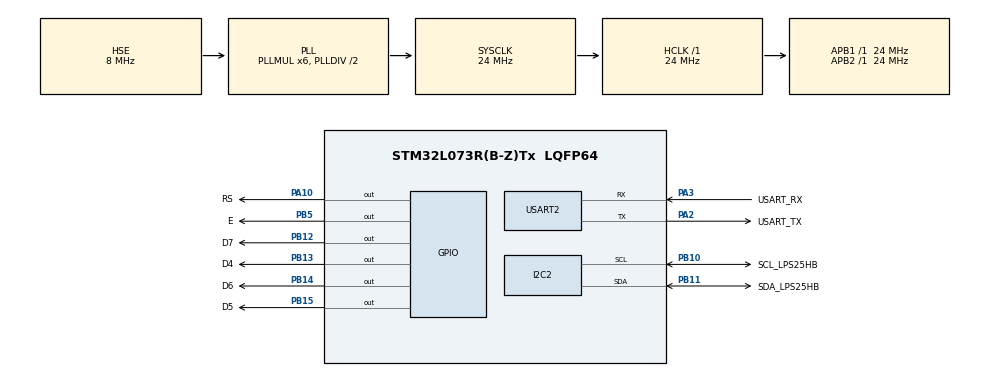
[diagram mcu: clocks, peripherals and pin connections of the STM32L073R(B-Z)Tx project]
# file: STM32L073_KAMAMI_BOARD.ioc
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I2C2.Timing=0x00805C87
Mcu.Family=STM32L0
Mcu.Name=STM32L073R(B-Z)Tx
Mcu.Package=LQFP64
Mcu.UserConstants=T2_PRE,12000;T2_CNT,2000
NVIC.I2C2_IRQn=true\:0\:0\:false\:false\:true\:true\:true\:true
NVIC.TIM2_IRQn=true\:0\:0\:false\:false\:true\:true\:true\:true
PA10.GPIO_Label=RS
PA10.Signal=GPIO_Output
PA13.GPIO_Label=TMS
PA13.Mode=Serial_Wire
PA13.Signal=SYS_SWDIO
PA14.GPIO_Label=TCK
PA14.Mode=Serial_Wire
PA14.Signal=SYS_SWCLK
PA2.GPIO_Label=USART_TX
PA2.Mode=Asynchronous
PA2.Signal=USART2_TX
PA3.GPIO_Label=USART_RX
PA3.Mode=Asynchronous
PA3.Signal=USART2_RX
PB10.GPIO_Label=SCL_LPS25HB
PB10.Mode=I2C
PB10.Signal=I2C2_SCL
PB11.GPIO_Label=SDA_LPS25HB
PB11.Mode=I2C
PB11.Signal=I2C2_SDA
PB12.GPIO_Label=D7
PB12.Signal=GPIO_Output
PB13.GPIO_Label=D4
PB13.Signal=GPIO_Output
PB14.GPIO_Label=D6
PB14.Signal=GPIO_Output
PB15.GPIO_Label=D5
PB15.Signal=GPIO_Output
PB5.GPIO_Label=E
PB5.Signal=GPIO_Output
PC14-OSC32_IN.Mode=LSE-External-Oscillator
PC14-OSC32_IN.Signal=RCC_OSC32_IN
PC15-OSC32_OUT.Mode=LSE-External-Oscillator
PC15-OSC32_OUT.Signal=RCC_OSC32_OUT
PH0-OSC_IN.GPIO_Label=MCO
PH0-OSC_IN.Mode=HSE-External-Clock-Source
PH0-OSC_IN.Signal=RCC_OSC_IN
ProjectManager.HeapSize=0x200
ProjectManager.StackSize=0x400
ProjectManager.TargetToolchain=MDK-ARM V5.32
RCC.AHBFreq_Value=24000000
RCC.APB1Freq_Value=24000000
RCC.APB1TimFreq_Value=24000000
RCC.APB2Freq_Value=24000000
RCC.APB2TimFreq_Value=24000000
RCC.HCLKFreq_Value=24000000
RCC.HSE_VALUE=8000000
RCC.HSI16_VALUE=16000000
RCC.HSI48_VALUE=48000000
RCC.HSI_VALUE=16000000
RCC.MSI_VALUE=2097000
RCC.PLLMUL=RCC_PLLMUL_6
RCC.PLLSourceVirtual=RCC_PLLSOURCE_HSE
RCC.SYSCLKFreq_VALUE=24000000
RCC.SYSCLKSource=RCC_SYSCLKSOURCE_PLLCLK
RCC.VCOOutputFreq_Value=48000000
TIM2.Period=T2_CNT
TIM2.Prescaler=T2_PRE
USART2.RxPinLevelInvertParam=ADVFEATURE_RXINV_DISABLE
USART2.TxPinLevelInvertParam=ADVFEATURE_TXINV_DISABLE
USART2.VirtualMode-Asynchronous=VM_ASYNC
VP_TIM2_VS_ClockSourceINT.Mode=Internal
board=NUCLEO-L073RZ

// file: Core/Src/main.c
/* USER CODE BEGIN Header */

/* USER CODE END Header */
#include "main.h"

/* USER CODE BEGIN Includes */
#include "LPS25HB.h"
#include "hd44780.h"
#include <stdio.h>
#include <string.h>

/* USER CODE END Includes */

/* USER CODE BEGIN PD */

StatusType Status=IDLE;

/* USER CODE END PD */

I2C_HandleTypeDef hi2c2;

TIM_HandleTypeDef htim2;

UART_HandleTypeDef huart2;

/* USER CODE BEGIN PV */

float slegis; // Current pressure reading
double vid;   // Average pressure
int sampleCount = 0; // Number of samples for averaging
double sum = 0; // Sum of pressure readings
int k = 0; // Counter for LCD updates

/* USER CODE END PV */

void SystemClock_Config(void);
static void MX_GPIO_Init(void);
static void MX_I2C2_Init(void);
static void MX_USART2_UART_Init(void);
static void MX_TIM2_Init(void);

/* USER CODE BEGIN 0 */
// Override the weak call back function

void HAL_TIM_PeriodElapsedCallback(TIM_HandleTypeDef * htim) {
  if (htim -> Instance == TIM2) {
		if (Status == IDLE)  {
			LPS25HB_Measure_Presure_IT( &hi2c2); // nuskaitymas
		  Status=SAMPLE_REQUESTED;
		}
  }
}

char txMessage[32];

/* USER CODE END 0 */

int main(void)
{

  /* MCU Configuration--------------------------------------------------------*/

  /* Reset of all peripherals, Initializes the Flash interface and the Systick. */
  HAL_Init();

  /* Configure the system clock */
  SystemClock_Config();

  /* Initialize all configured peripherals */
  MX_GPIO_Init();
  MX_I2C2_Init();
  MX_USART2_UART_Init();
  MX_TIM2_Init();
  /* USER CODE BEGIN 2 */

	LPS25HB_Initialise(&hi2c2);
	HAL_TIM_Base_Start_IT(&htim2);
	LCD_Init();
	LCD_Clear();

  /* USER CODE END 2 */

  /* Infinite loop */
  while (1)
  {

    /* USER CODE BEGIN 3 */
    // Add the latest pressure reading to the sum
    if (Status == SAMPLE_READY)
    {
        sum += slegis;
        sampleCount++;
        vid = sum / sampleCount; // Update the average pressure
        Status = IDLE; // Reset status to idle
    }

    // Send the average pressure to the computer every second
    snprintf(txMessage, sizeof(txMessage), "Pressure average: %.2f kPa \r\n", vid*0.1);
    HAL_UART_Transmit(&huart2, (uint8_t*)txMessage, strlen(txMessage), HAL_MAX_DELAY);

    k++; // Increment LCD update counter

    // Update the LCD every 5 seconds
    if (k == 5)
    {
        float slegis2 = vid * 0.1; // Convert pressure to display value
        char buffer[16];
        LCD_Clear();
        LCD_SetCursor(0, 0);
        sprintf(buffer, "Pres: %.2f kPa", slegis2);
        LCD_Print(buffer);
        k = 0; // Reset LCD update counter
    }

    HAL_Delay(1000); // 1-second delay
  }
  /* USER CODE END 3 */
}

void SystemClock_Config(void)
{
  RCC_OscInitTypeDef RCC_OscInitStruct = {0};
  RCC_ClkInitTypeDef RCC_ClkInitStruct = {0};
  RCC_PeriphCLKInitTypeDef PeriphClkInit = {0};

  /** Configure the main internal regulator output voltage
  */
  __HAL_PWR_VOLTAGESCALING_CONFIG(PWR_REGULATOR_VOLTAGE_SCALE1);

  /** Initializes the RCC Oscillators according to the specified parameters
  * in the RCC_OscInitTypeDef structure.
  */
  RCC_OscInitStruct.OscillatorType = RCC_OSCILLATORTYPE_HSE;
  RCC_OscInitStruct.HSEState = RCC_HSE_BYPASS;
  RCC_OscInitStruct.PLL.PLLState = RCC_PLL_ON;
  RCC_OscInitStruct.PLL.PLLSource = RCC_PLLSOURCE_HSE;
  RCC_OscInitStruct.PLL.PLLMUL = RCC_PLLMUL_6;
  RCC_OscInitStruct.PLL.PLLDIV = RCC_PLLDIV_2;
  if (HAL_RCC_OscConfig(&RCC_OscInitStruct) != HAL_OK)
  {
    Error_Handler();
  }

  /** Initializes the CPU, AHB and APB buses clocks
  */
  RCC_ClkInitStruct.ClockType = RCC_CLOCKTYPE_HCLK|RCC_CLOCKTYPE_SYSCLK
                              |RCC_CLOCKTYPE_PCLK1|RCC_CLOCKTYPE_PCLK2;
  RCC_ClkInitStruct.SYSCLKSource = RCC_SYSCLKSOURCE_PLLCLK;
  RCC_ClkInitStruct.AHBCLKDivider = RCC_SYSCLK_DIV1;
  RCC_ClkInitStruct.APB1CLKDivider = RCC_HCLK_DIV1;
  RCC_ClkInitStruct.APB2CLKDivider = RCC_HCLK_DIV1;

  if (HAL_RCC_ClockConfig(&RCC_ClkInitStruct, FLASH_LATENCY_1) != HAL_OK)
  {
    Error_Handler();
  }
  PeriphClkInit.PeriphClockSelection = RCC_PERIPHCLK_USART2;
  PeriphClkInit.Usart2ClockSelection = RCC_USART2CLKSOURCE_PCLK1;
  if (HAL_RCCEx_PeriphCLKConfig(&PeriphClkInit) != HAL_OK)
  {
    Error_Handler();
  }
}

static void MX_I2C2_Init(void)
{

  hi2c2.Instance = I2C2;
  hi2c2.Init.Timing = 0x00805C87;
  hi2c2.Init.OwnAddress1 = 0;
  hi2c2.Init.AddressingMode = I2C_ADDRESSINGMODE_7BIT;
  hi2c2.Init.DualAddressMode = I2C_DUALADDRESS_DISABLE;
  hi2c2.Init.OwnAddress2 = 0;
  hi2c2.Init.OwnAddress2Masks = I2C_OA2_NOMASK;
  hi2c2.Init.GeneralCallMode = I2C_GENERALCALL_DISABLE;
  hi2c2.Init.NoStretchMode = I2C_NOSTRETCH_DISABLE;
  if (HAL_I2C_Init(&hi2c2) != HAL_OK)
  {
    Error_Handler();
  }

  /** Configure Analogue filter
  */
  if (HAL_I2CEx_ConfigAnalogFilter(&hi2c2, I2C_ANALOGFILTER_ENABLE) != HAL_OK)
  {
    Error_Handler();
  }

  /** Configure Digital filter
  */
  if (HAL_I2CEx_ConfigDigitalFilter(&hi2c2, 0) != HAL_OK)
  {
    Error_Handler();
  }

}

static void MX_TIM2_Init(void)
{

  TIM_ClockConfigTypeDef sClockSourceConfig = {0};
  TIM_MasterConfigTypeDef sMasterConfig = {0};

  htim2.Instance = TIM2;
  htim2.Init.Prescaler = T2_PRE;
  htim2.Init.CounterMode = TIM_COUNTERMODE_UP;
  htim2.Init.Period = T2_CNT;
  htim2.Init.ClockDivision = TIM_CLOCKDIVISION_DIV1;
  htim2.Init.AutoReloadPreload = TIM_AUTORELOAD_PRELOAD_DISABLE;
  if (HAL_TIM_Base_Init(&htim2) != HAL_OK)
  {
    Error_Handler();
  }
  sClockSourceConfig.ClockSource = TIM_CLOCKSOURCE_INTERNAL;
  if (HAL_TIM_ConfigClockSource(&htim2, &sClockSourceConfig) != HAL_OK)
  {
    Error_Handler();
  }
  sMasterConfig.MasterOutputTrigger = TIM_TRGO_RESET;
  sMasterConfig.MasterSlaveMode = TIM_MASTERSLAVEMODE_DISABLE;
  if (HAL_TIMEx_MasterConfigSynchronization(&htim2, &sMasterConfig) != HAL_OK)
  {
    Error_Handler();
  }

}

static void MX_USART2_UART_Init(void)
{

  huart2.Instance = USART2;
  huart2.Init.BaudRate = 115200;
  huart2.Init.WordLength = UART_WORDLENGTH_8B;
  huart2.Init.StopBits = UART_STOPBITS_1;
  huart2.Init.Parity = UART_PARITY_NONE;
  huart2.Init.Mode = UART_MODE_TX_RX;
  huart2.Init.HwFlowCtl = UART_HWCONTROL_NONE;
  huart2.Init.OverSampling = UART_OVERSAMPLING_16;
  huart2.Init.OneBitSampling = UART_ONE_BIT_SAMPLE_DISABLE;
  huart2.AdvancedInit.AdvFeatureInit = UART_ADVFEATURE_NO_INIT;
  if (HAL_UART_Init(&huart2) != HAL_OK)
  {
    Error_Handler();
  }

}

static void MX_GPIO_Init(void)
{
  GPIO_InitTypeDef GPIO_InitStruct = {0};

  /* GPIO Ports Clock Enable */
  __HAL_RCC_GPIOC_CLK_ENABLE();
  __HAL_RCC_GPIOH_CLK_ENABLE();
  __HAL_RCC_GPIOA_CLK_ENABLE();
  __HAL_RCC_GPIOB_CLK_ENABLE();

  /*Configure GPIO pin Output Level */
  HAL_GPIO_WritePin(GPIOB, D7_Pin|D4_Pin|D6_Pin|D5_Pin
                          |E_Pin, GPIO_PIN_RESET);

  /*Configure GPIO pin Output Level */
  HAL_GPIO_WritePin(RS_GPIO_Port, RS_Pin, GPIO_PIN_RESET);

  /*Configure GPIO pins : D7_Pin D4_Pin D6_Pin D5_Pin
                           E_Pin */
  GPIO_InitStruct.Pin = D7_Pin|D4_Pin|D6_Pin|D5_Pin
                          |E_Pin;
  GPIO_InitStruct.Mode = GPIO_MODE_OUTPUT_PP;
  GPIO_InitStruct.Pull = GPIO_NOPULL;
  GPIO_InitStruct.Speed = GPIO_SPEED_FREQ_LOW;
  HAL_GPIO_Init(GPIOB, &GPIO_InitStruct);

  /*Configure GPIO pin : RS_Pin */
  GPIO_InitStruct.Pin = RS_Pin;
  GPIO_InitStruct.Mode = GPIO_MODE_OUTPUT_PP;
  GPIO_InitStruct.Pull = GPIO_NOPULL;
  GPIO_InitStruct.Speed = GPIO_SPEED_FREQ_LOW;
  HAL_GPIO_Init(RS_GPIO_Port, &GPIO_InitStruct);

}

void Error_Handler(void)
{
  __disable_irq();
  while (1)
  {
  }
}
